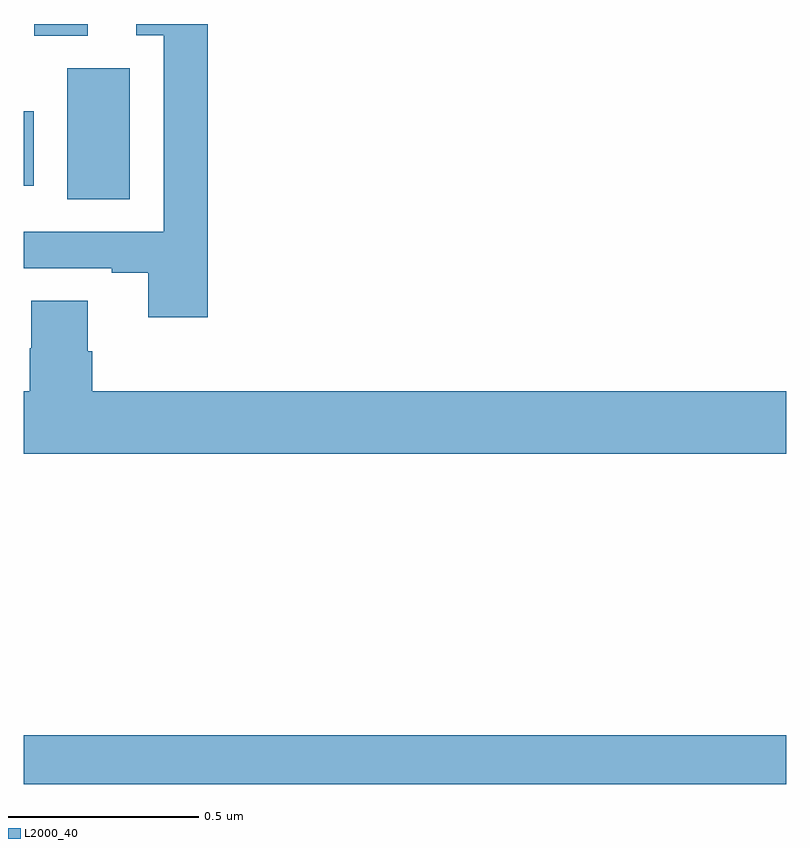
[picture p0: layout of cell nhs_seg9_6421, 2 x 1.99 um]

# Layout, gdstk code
import gdstk
lib = gdstk.Library(unit=1e-6, precision=1e-09)
def R(c, l, rs):  # rectangles x0, y0, x1, y1
    for r in rs: c.add(gdstk.rectangle(r[:2], r[2:], *l))
def P(c, l, *ps):  # polygons
    for p in ps: c.add(gdstk.Polygon(p, *l))
L2000_40 = (2000, 40)

nhs_seg9_6421 = lib.new_cell('nhs_seg9_6421')
R(nhs_seg9_6421, L2000_40, [(191,1243.506,193,1243.634), (191.114,1245.04,191.278,1245.384), (191,1245.075,191.026,1245.271), (191.027,1245.469,191.167,1245.5)])
P(nhs_seg9_6421, L2000_40, [(191.483,1245.5),(191.295,1245.5),(191.295,1245.471),(191.367,1245.471),(191.367,1244.955),(191,1244.955),(191,1244.859),(191.231,1244.859),(191.231,1244.847),(191.327,1244.847),(191.327,1244.73),(191.483,1244.73)],
  [(193,1244.536),(191.18,1244.536),(191.18,1244.642),(191.167,1244.642),(191.167,1244.774),(191.02,1244.774),(191.02,1244.649),(191.015,1244.649),(191.015,1244.536),(191,1244.536),(191,1244.372),(193,1244.372)])

lib.write_gds('nhs_seg9_6421.gds')
